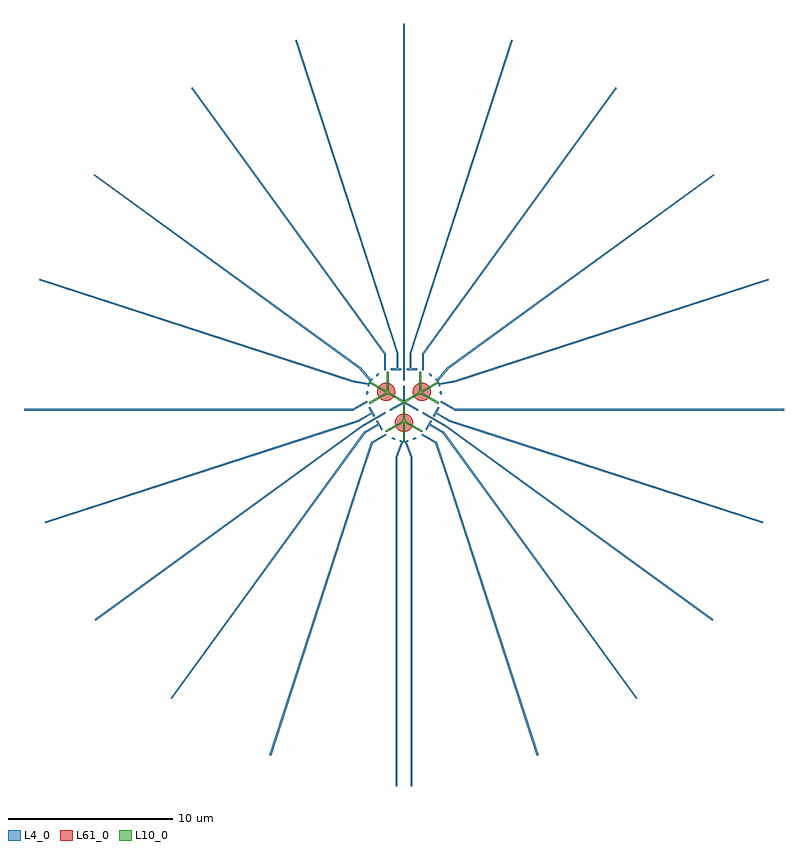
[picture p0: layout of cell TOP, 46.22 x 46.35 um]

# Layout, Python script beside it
import klayout.db as db
import numpy as np

def return_path(polygon, angle, length_path, threshold, pathwidth, um = 1e3):
    list_points = list(polygon.each_point_hull())
    counter = 0
    xsum = 0
    ysum = 0
    
    lowest_index = 0
    for k, point in enumerate(list_points):
        if threshold < 0:
            if point.y < list_points[lowest_index].y:
                lowest_index = k
        if threshold > 0:
            if point.y > list_points[lowest_index].y:
                lowest_index = k
    
    lower_index = lowest_index+1
    for k, point in enumerate(list_points):
        if k == lowest_index:
            continue
        if threshold < 0:
            if point.y < list_points[lower_index].y:
                lower_index = k
        if threshold > 0:
            if point.y > list_points[lower_index].y:
                lower_index = k
    """

    for point in list_points:
        if threshold < 0:
            if point.y<threshold:
                xsum +=point.x
                ysum +=point.y
                counter +=1
        if threshold > 0:
            if point.y>threshold:
                xsum +=point.x
                ysum +=point.y
                counter +=1
    """
    x0 = 0.5*(list_points[lowest_index].x + list_points[lower_index].x)
    y0 = 0.5*(list_points[lowest_index].y + list_points[lower_index].y)

    lc = length_path*np.cos(np.pi*angle/180)*um
    ls = length_path*np.sin(np.pi*angle/180)*um

    c = 4*np.cos(np.pi*angle/180)*um
    s = 4*np.sin(np.pi*angle/180)*um

    if threshold < 0:
        point1 = db.Point(x0-0.01*s, y0 + 0.01*c)
        point2 = db.Point(x0+0.1*ls, y0-0.1*lc)
        point3= db.Point(x0+ls, y0-lc)

    if threshold > 0:
        point1 = db.Point(x0-0.01*s, y0 - 0.01*c)
        point2 = db.Point(x0+0.1*ls, y0+0.1*lc)
        point3 = db.Point(x0+ls, y0+lc)
    return db.Path([point1, point2, point3], pathwidth*um)
        

def create_qpc(widthqpc, height_gate = 0.1, length_gate = 0.2, um = 1e3):
    rect = db.Box((length_gate-0.1)*um, height_gate*um)
    qpcregion = db.Region()
    qpcregion.insert(rect.transformed(db.ICplxTrans.new(1, 0, False, -0.5*widthqpc*um-0.5*length_gate*um+0.05*um, 0)))
    qpcregion.insert(rect.transformed(db.ICplxTrans.new(1, 0, False, 0.5*widthqpc*um+0.5*length_gate*um-0.05*um, 0)))
    qpcregion.round_corners(0.1*um, 0.1*um, 32)
    rect = db.Box((length_gate-0.05)*um, height_gate*um)
    qpcregion.insert(rect.transformed(db.ICplxTrans.new(1, 0, False, (-0.5*widthqpc-0.5*length_gate-0.025)*um, 0)))
    qpcregion.insert(rect.transformed(db.ICplxTrans.new(1, 0, False, (0.5*widthqpc+0.5*length_gate+0.025)*um, 0)))
    return qpcregion.merged()

def create_trench(um, p):
    sq3p2 = np.sqrt(3)/2
    trench_region = db.Region()
    trench1 = db.Region(db.Box(p.trenchwidth*um, 0.7*p.island_spacing*um))
    tregion = db.Region()
    tregion += trench1.transformed(db.ICplxTrans.new(1, -60, False, 0, 0)).moved(-sq3p2*p.tl1*um, -(1/2)*p.tl1*um)
    tregion += trench1.transformed(db.ICplxTrans.new(1, 0, False, 0, 0)).moved(0, p.tl1*um)
    tregion += trench1.transformed(db.ICplxTrans.new(1, 60, False, 0, 0)).moved(sq3p2*p.tl1*um, -(1/2)*p.tl1*um)
    tregion += trench1.transformed(db.ICplxTrans.new(1, 0, False, 0, 0)).moved(0, -p.tl1*um)

    tregion.merge()
    #trench_region += tregion.moved((1/2)*p.tl*um, (1/3)*sq3p2*p.tl*um)
    #trench_region += tregion.moved(-(1/2)*p.tl*um, (1/3)*sq3p2*p.tl*um)
    trench_region += tregion.moved(0*um, (-2/3)*sq3p2*p.tl*um)
    trench_region += tregion.moved(0*um, (-2/3)*sq3p2*p.tl*um).transformed(db.ICplxTrans.new(1, -120, False, 0, 0))
    trench_region += tregion.moved(0*um, (-2/3)*sq3p2*p.tl*um).transformed(db.ICplxTrans.new(1, 120, False, 0, 0))

    return trench_region.merged()

def create_finegates(um, p):
    finegates_region = db.Region()

    sq3p2 = np.sqrt(3)/2
    qpc1 = create_qpc(0.3, length_gate= p.island_spacing*0.5, um = um)

    qpc2 = create_qpc(0.3, length_gate= 0.2, um = um)

    finegates_region += qpc1.transformed(db.ICplxTrans.new(1, 90, False, 0*um, (2/3)*sq3p2*p.qlength*um))
    finegates_region += qpc1.transformed(db.ICplxTrans.new(1, -30, False, (1/2)*p.qlength*um, -(1/3)*sq3p2*p.qlength*um))
    finegates_region += qpc1.transformed(db.ICplxTrans.new(1, 30, False, -(1/2)*p.qlength*um, -(1/3)*sq3p2*p.qlength*um))
    
    qpcleft = qpc2.transformed(db.ICplxTrans.new(1, -20, False, -0.4*um, -(2/3)*sq3p2*p.lead_length*um))
    qpcright = qpc2.transformed(db.ICplxTrans.new(1, 20, False, 0.4*um, -(2/3)*sq3p2*p.lead_length*um))

    finegates_region += qpcleft
    finegates_region += qpcright
    finegates_region += qpcleft.transformed(db.ICplxTrans.new(1, -120, False, 0, 0))
    finegates_region += qpcright.transformed(db.ICplxTrans.new(1, -120, False, 0, 0))

    finegates_region += qpcleft.transformed(db.ICplxTrans.new(1, 120, False, 0, 0))
    finegates_region += qpcright.transformed(db.ICplxTrans.new(1, 120, False, 0, 0))


    qpc3 = create_qpc(0.3, length_gate= 0.65, um = um).rounded_corners(0.1*um, 0.1*um, 64)


    finegates_region += qpc3.moved(0*um, -p.island_spacing*um).transformed(db.ICplxTrans.new(1, -60, False, 0*um, 0*um))
    finegates_region += qpc3.moved(0*um, -p.island_spacing*um).transformed(db.ICplxTrans.new(1, 60, False, 0*um, 0*um))
    finegates_region += qpc3.moved(0*um, -p.island_spacing*um).transformed(db.ICplxTrans.new(1, 180, False, 0*um, 0*um))


    lboxgate = db.Polygon(db.Box(0.1*um, p.long_gatelength*um))
    lfanout = 20

    polygon1 = lboxgate.moved(-0.4*um, -(p.island_spacing+p.long_gatelength*0.5)*um).transformed(db.ICplxTrans.new(1, -60, False, 0*um, 0*um))
    finegates_region+= polygon1
    path1 = return_path(polygon1, -72, lfanout, -1, 0.1, um)
    finegates_region+= path1

    polygon2 = lboxgate.moved(0.4*um, -(p.island_spacing+p.long_gatelength*0.5)*um).transformed(db.ICplxTrans.new(1, -60, False, 0*um, 0*um))
    finegates_region+= polygon2
    path2 = return_path(polygon2, -36, lfanout, -1, 0.1, um)
    finegates_region+= path2
    
    polygon3 = lboxgate.moved(0*um, -(p.island_spacing+p.long_gatelength*0.5)*um).transformed(db.ICplxTrans.new(1, -60, False, 0*um, 0*um))
    finegates_region+= polygon3
    path3 = return_path(polygon3, -54, lfanout, -1, 0.1, um)
    finegates_region+= path3


    polygon4= lboxgate.moved(1.05*p.island_length*um, -0.97*(p.island_spacing+p.long_gatelength*0.5)*um).transformed(db.ICplxTrans.new(1, -60, False, 0*um, 0*um))
    finegates_region+= polygon4
    path4 = return_path(polygon4, -18, lfanout, -1, 0.1, um)
    finegates_region+= path4

    polygon5 = lboxgate.moved(-1.05*p.island_length*um, -0.97*(p.island_spacing+p.long_gatelength*0.5)*um).transformed(db.ICplxTrans.new(1, 60, False, 0*um, 0*um))
    finegates_region+= polygon5
    path5 = return_path(polygon5, 18, lfanout, -1, 0.1, um)
    finegates_region+= path5

    box_gate = db.Box(0.1*um, p.long_gatelength*um)
    
    mboxgate  = db.Polygon(box_gate).moved(-0.3*um, -0.5*p.long_gatelength*um)
    polygon6 = mboxgate.transformed(db.ICplxTrans.new(1, 20, False, 0.4*um, -(2/3)*sq3p2*p.lead_length*um))
    finegates_region+= polygon6
    path6 = return_path(polygon6, 0, lfanout, -1, 0.1, um)
    finegates_region+= path6

    mboxgate  = db.Polygon(box_gate).moved(0.3*um, -0.5*p.long_gatelength*um)
    polygon7 = mboxgate.transformed(db.ICplxTrans.new(1, -20, False, -0.4*um, -(2/3)*sq3p2*p.lead_length*um))
    finegates_region+= polygon7
    path7 = return_path(polygon7, 0, lfanout, -1, 0.1, um)
    finegates_region+= path7

    polygon8 = lboxgate.moved(-0.4*um, -(p.island_spacing+p.long_gatelength*0.5)*um).transformed(db.ICplxTrans.new(1, 60, False, 0*um, 0*um))
    finegates_region+= polygon8
    path8 = return_path(polygon8, 36, lfanout, -1, 0.1, um)
    finegates_region+= path8

    polygon9 = lboxgate.moved(0.4*um, -(p.island_spacing+p.long_gatelength*0.5)*um).transformed(db.ICplxTrans.new(1, 60, False, 0*um, 0*um))
    finegates_region+= polygon9
    path9 = return_path(polygon9, 72, lfanout, -1, 0.1, um)
    finegates_region+= path9

    polygon10 = lboxgate.moved(0*um, -(p.island_spacing+p.long_gatelength*0.5)*um).transformed(db.ICplxTrans.new(1, 60, False, 0*um, 0*um))
    finegates_region+= polygon10
    path10 = return_path(polygon10, 54, lfanout, -1, 0.1, um)
    finegates_region+= path10

    polygon11 = polygon4.transformed(db.ICplxTrans.new(1, -120, False, 0*um, 0*um))
    finegates_region+= polygon11
    path11 = return_path(polygon11, -36, lfanout, 1, 0.1, um)
    finegates_region+= path11

    polygon12 = polygon5.transformed(db.ICplxTrans.new(1, -120, False, 0*um, 0*um))
    finegates_region+= polygon12
    path12 = return_path(polygon12, -90, lfanout, -1, 0.1, um)
    finegates_region+= path12

    polygon13 = polygon6.transformed(db.ICplxTrans.new(1, -120, False, 0*um, 0*um))
    finegates_region+= polygon13
    path13 = return_path(polygon13, -72, lfanout, 1, 0.1, um)
    finegates_region+= path13

    polygon14 = polygon7.transformed(db.ICplxTrans.new(1, -120, False, 0*um, 0*um))
    finegates_region+= polygon14
    path14 = return_path(polygon14, -54, lfanout, 1, 0.1, um)
    finegates_region+= path14

    polygon15 = polygon1.transformed(db.ICplxTrans.new(1, -120, False, 0*um, 0*um))
    finegates_region+= polygon15
    path15 = return_path(polygon15, 18, lfanout, 1, 0.1, um)
    finegates_region+= path15

    polygon16 = polygon2.transformed(db.ICplxTrans.new(1, -120, False, 0*um, 0*um))
    finegates_region+= polygon16
    path16 = return_path(polygon16, -18, lfanout, 1, 0.1, um)
    finegates_region+= path16
    
    polygon17 =  polygon3.transformed(db.ICplxTrans.new(1, -120, False, 0*um, 0*um))
    finegates_region+= polygon17
    path17 = return_path(polygon17, 0, lfanout, 1, 0.1, um)
    finegates_region+= path17


    polygon18 = polygon4.transformed(db.ICplxTrans.new(1, 120, False, 0*um, 0*um))
    finegates_region+= polygon18
    path18 = return_path(polygon18, 90, lfanout, -1, 0.1, um)
    finegates_region+= path18

    polygon19 = polygon5.transformed(db.ICplxTrans.new(1, 120, False, 0*um, 0*um))
    finegates_region+= polygon19
    path19 = return_path(polygon19, 36, lfanout, 1, 0.1, um)
    finegates_region+= path19

    polygon20 = polygon6.transformed(db.ICplxTrans.new(1, 120, False, 0*um, 0*um))
    finegates_region+= polygon20
    path20 = return_path(polygon20, 54, lfanout, 1, 0.1, um)
    finegates_region+= path20

    polygon21 = polygon7.transformed(db.ICplxTrans.new(1, 120, False, 0*um, 0*um))
    finegates_region+= polygon21
    path21 = return_path(polygon21, 72, lfanout, 1, 0.1, um)
    finegates_region+= path21


    return finegates_region.merged()
    

def create_islands(um, p):
    sq3p2 = np.sqrt(3)/2
    island_rgn = db.Region()
    
    point1 = db.Point(0*um, -(2/3)*sq3p2*p.island_length*um)
    point2 = db.Point(-0.5*p.island_length*um, (1/3)*sq3p2*p.island_length*um)
    point3 = db.Point(0.5*p.island_length*um, (1/3)*sq3p2*p.island_length*um)

    triangle = db.Polygon([point1, point2, point3])

    square = db.Polygon(db.Box(p.island_length*um, p.island_length*um)).moved(0*um, (-(2/3)*sq3p2*p.island_spacing-0.1)*um)
    #island_rgn.insert(triangle.moved(0*um, -(2/3)*sq3p2*p.island_spacing*um))
    #island_rgn.insert(triangle.moved(0.5*p.island_spacing*um, (1/3)*sq3p2*p.island_spacing*um))
    #island_rgn.insert(triangle.moved(-0.5*p.island_spacing*um, (1/3)*sq3p2*p.island_spacing*um))
    #island_rgn.round_corners(0, 0.1*um, 64)

    island_rgn.insert(square)
    island_rgn.insert(square.transformed(db.ICplxTrans.new(1, 120, False, 0*um, 0*um)))
    island_rgn.insert(square.transformed(db.ICplxTrans.new(1, -120, False, 0*um, 0*um)))

    island_rgn.round_corners(p.island_length/2*um, p.island_length/2*um, 128)

    return island_rgn

class p():
    island_spacing = 2
    island_length  = 1.1
    qlength = 1*island_spacing
    trenchwidth = 0.12
    tl = 1.0*island_spacing
    tl1 = 0.29*island_spacing
    lead_length = 2*qlength
    short_gatelength = 0.4
    long_gatelength = 1.0



um = 1e3

mesaNeg = db.LayerInfo(10, 0)
island = db.LayerInfo(61, 0)
fgates = db.LayerInfo(4, 0)

layout = db.Layout(True)
top = layout.create_cell("TOP")

fgate_layer = layout.layer(fgates)
mesaNeg_layer = layout.layer(mesaNeg)
island_layer = layout.layer(island)


island_rgn = create_islands(um, p)
fregion = create_finegates(um, p)
trench_region = create_trench(um, p)

top.shapes(island_layer).insert(island_rgn)
top.shapes(fgate_layer).insert(fregion)
top.shapes(mesaNeg_layer).insert(trench_region)

layout.write("/Users/karnamorey/Google Drive/Shared drives/GGG GDrive/"
    "QDots-2/HMIAChipDesign/scriptcad/proposal_designs/prototype.gds")


